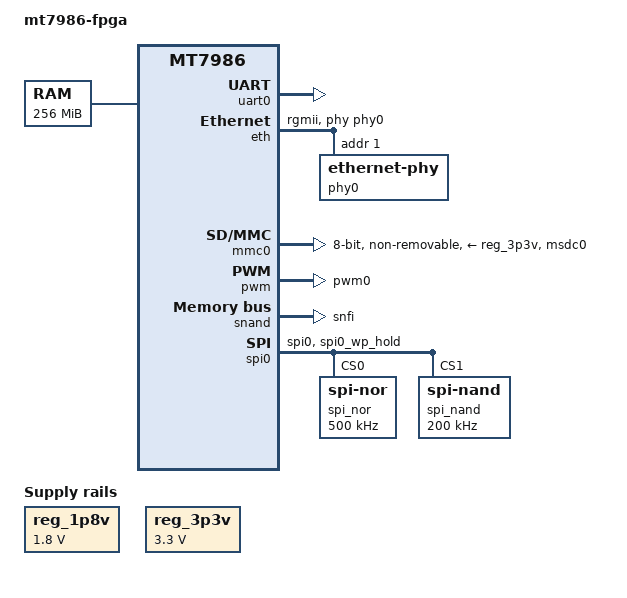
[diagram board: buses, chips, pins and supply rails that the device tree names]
// SPDX-License-Identifier: GPL-2.0
/*
 * Copyright (c) 2020 MediaTek Inc.
 * Author: Sam Shih <sam.shih@mediatek.com>
 */

/dts-v1/;
#include "mt7986-fpga.dtsi"
#include <dt-bindings/gpio/gpio.h>

/ {
	#address-cells = <1>;
	#size-cells = <1>;
	model = "mt7986-fpga";
	compatible = "mediatek,mt7986", "mediatek,mt7986-fpga";
	chosen {
		stdout-path = &uart0;
	};

	memory@40000000 {
		device_type = "memory";
		reg = <0x40000000 0x10000000>;
	};

	reg_1p8v: regulator-1p8v {
		compatible = "regulator-fixed";
		regulator-name = "fixed-1.8V";
		regulator-min-microvolt = <1800000>;
		regulator-max-microvolt = <1800000>;
		regulator-boot-on;
		regulator-always-on;
	};

	reg_3p3v: regulator-3p3v {
		compatible = "regulator-fixed";
		regulator-name = "fixed-3.3V";
		regulator-min-microvolt = <3300000>;
		regulator-max-microvolt = <3300000>;
		regulator-boot-on;
		regulator-always-on;
	};
};

&uart0 {
	status = "okay";
};

&uart1 {
	pinctrl-names = "default";
	pinctrl-0 = <&uart1_pins>;
	status = "disabled";
};

&eth {
	status = "okay";
	mediatek,gmac-id = <0>;
	phy-mode = "rgmii";
	phy-handle = <&phy0>;

	phy0: ethernet-phy@0 {
		reg = <1>;
	};
};

&pinctrl {
	spi_flash_pins: spi0-pins-func-1 {
		mux {
			function = "flash";
			groups = "spi0", "spi0_wp_hold";
		};
	};
	snfi_pins: snfi-pins-func-1 {
		mux {
			function = "flash";
			groups = "snfi";
		};
	};
	spic_pins: spi1-pins-func-1 {
		mux {
			function = "spi";
			groups = "spi1_1";
		};
	};
	uart1_pins: spi1-pins-func-3 {
		mux {
			function = "uart";
			groups = "uart1_2";
		};
	};
	pwm_pins: pwm0-pins-func-1 {
		mux {
			function = "pwm";
			groups = "pwm0";
		};
	};
	mmc0_pins_default: mmc0default {
		mux {
			function = "msdc";
			groups =  "msdc0";
		};
	};
};

&mmc0 {
	pinctrl-names = "default";
	pinctrl-0 = <&mmc0_pins_default>;
	bus-width = <8>;
	max-frequency = <6000000>;
	cap-mmc-highspeed;
	cap-mmc-hw-reset;
	vmmc-supply = <&reg_3p3v>;
	vqmmc-supply = <&reg_1p8v>;
	non-removable;
	status = "okay";
};

&pwm {
	pinctrl-names = "default";
	pinctrl-0 = <&pwm_pins>;
	status = "okay";
};

&snand {
	pinctrl-names = "default";
	pinctrl-0 = <&snfi_pins>;
	status = "okay";
	quad-spi;
};

&spi0 {
	#address-cells = <1>;
	#size-cells = <0>;
	pinctrl-names = "default";
	pinctrl-0 = <&spi_flash_pins>;
	status = "okay";
	must_tx;
	enhance_timing;
	dma_ext;
	ipm_design;
	support_quad;
	tick_dly = <0>;
	sample_sel = <0>;

	spi_nor@0 {
		compatible = "jedec,spi-nor";
		reg = <0>;
		spi-max-frequency = <500000>;
	};

	spi_nand@1 {
		compatible = "spi-nand";
		reg = <1>;
		spi-max-frequency = <200000>;
	};
};
